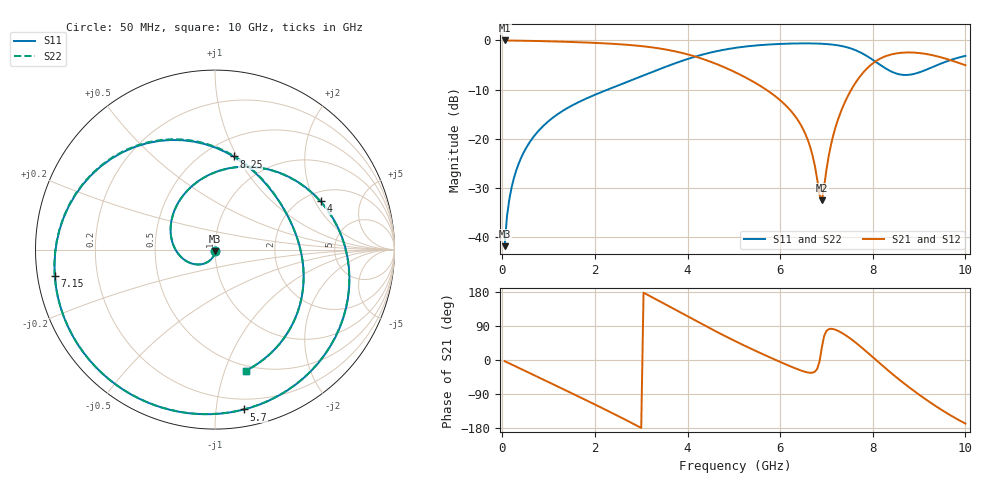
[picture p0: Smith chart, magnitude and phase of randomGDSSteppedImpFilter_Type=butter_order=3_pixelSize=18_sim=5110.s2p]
! freq	dB(S11)	phase(S11)	dB(S12)	phase(S12)
!  dB(S21)	phase(S21)	dB(S22)	phase(S22)
!S-par simulation data
#  GHz  S  DB  R 50
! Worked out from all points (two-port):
!   200 points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, 50 MHz to 10 GHz, reference 50 ohm
!   highest |S21| = -0.01 dB at 50 MHz (marker M1); lowest = -32.5 dB at 6.9 GHz (marker M2)
!   |S21| within 3 dB of the highest: start of sweep to 4.067 GHz; 8.341 GHz to 9.289 GHz (947.6 MHz wide, 10.7 % of centre)
!   lowest |S11| = -41.8 dB at 50 MHz (marker M3), VSWR 1.02, Z = 50 - j0.808 ohm
!   |S11| at or under -10 dB: start of sweep to 2.275 GHz
!   |S22| runs from -41.8 to -0.6 dB; largest |S21 - S12| = 0
!   S11 on the Smith chart (normalised r, x): 50 MHz: 1.00, -0.02; 4 GHz: 2.40, +2.22; 5.7 GHz: 0.12, -1.19; 7.15 GHz: 0.05, -0.08; 8.25 GHz: 0.67, +0.97; 10 GHz: 0.45, -1.18
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0.05  -41.84 -92.1  -0.01 -3.0  -0.01 -3.0  -41.84 -92.1
0.2  -29.94 -101.5  -0.02 -11.8  -0.02 -11.8  -29.94 -101.5
0.5  -22.12 -119.8  -0.07 -29.2  -0.07 -29.2  -22.12 -119.8
1.15  -15.30 -158.0  -0.21 -67.2  -0.21 -67.2  -15.30 -158.1
1.75  -12.09 166.6  -0.40 -102.5  -0.40 -102.5  -12.09 166.4
2.65  -8.61 112.0  -0.85 -157.1  -0.85 -157.1  -8.61 111.7
3.4  -5.82 64.1  -1.64 154.9  -1.64 154.9  -5.82 63.7
4  -3.78 24.6  -2.83 115.3  -2.83 115.3  -3.79 24.3
4.55  -2.35 -11.0  -4.52 79.5  -4.52 79.5  -2.35 -11.4
5.05  -1.49 -41.9  -6.56 48.6  -6.56 48.6  -1.49 -42.3
5.7  -0.86 -79.7  -10.03 11.2  -10.03 11.2  -0.87 -80.1
6.35  -0.61 -116.9  -15.76 -23.1  -15.76 -23.1  -0.62 -117.4
6.7  -0.61 -138.4  -23.41 -33.4  -23.41 -33.4  -0.62 -139.1
6.9  -0.68 -151.9  -32.54 33.0  -32.54 33.0  -0.68 -152.6
7.15  -0.87 -170.5  -19.18 81.5  -19.18 81.5  -0.87 -171.3
7.75  -2.52 133.6  -7.02 34.0  -7.02 34.0  -2.52 132.5
8.25  -5.53 78.7  -3.31 -19.3  -3.31 -19.3  -5.53 77.5
8.35  -6.08 67.8  -2.98 -29.7  -2.98 -29.7  -6.08 66.6
8.7  -7.03 31.1  -2.46 -64.1  -2.46 -64.1  -7.02 30.1
9  -6.51 2.0  -2.56 -91.4  -2.56 -91.4  -6.50 1.3
9.5  -4.60 -40.6  -3.50 -132.7  -3.50 -132.7  -4.60 -40.8
10  -3.14 -75.8  -5.04 -167.8  -5.04 -167.8  -3.14 -75.8
